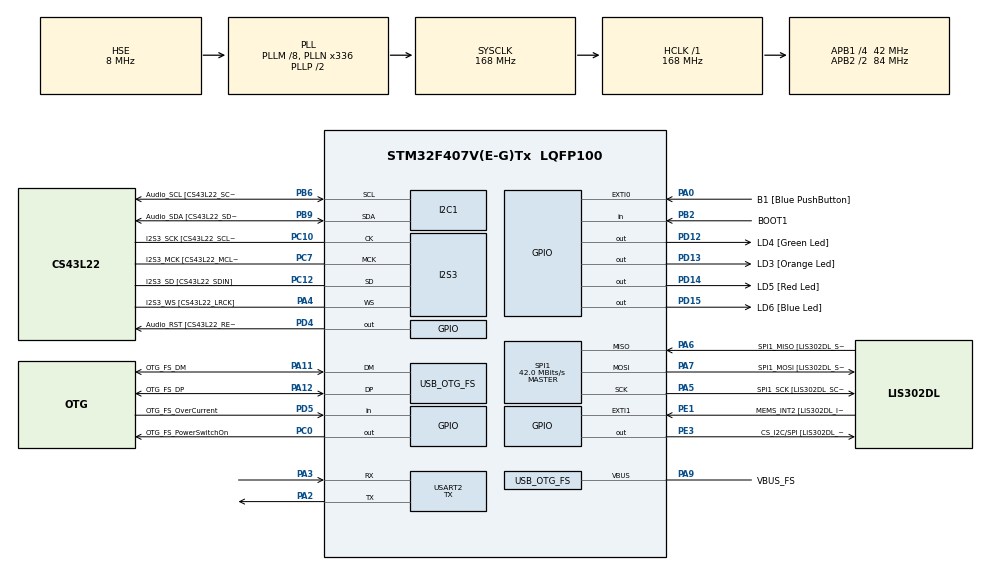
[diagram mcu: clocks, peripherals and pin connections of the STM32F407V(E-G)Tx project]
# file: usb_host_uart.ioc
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FREERTOS.Queues01=memoryToFilter,32,uint8_t,0,Dynamic,NULL,NULL;filterToUART,32,uint8_t,0,Dynamic,NULL,NULL
FREERTOS.Tasks01=readFromMemory,24,128,StartReadFromMemory,Default,NULL,Dynamic,NULL,NULL;filter,24,128,StartFilter,Default,NULL,Dynamic,NULL,NULL;sendUART,24,128,StartSendUART,Default,NULL,Dynamic,NULL,NULL
I2S3.AudioFreq-Half_Duplex_Master=I2S_AUDIOFREQ_96K
I2S3.ErrorAudioFreq=-2.34 %
I2S3.ErrorAudioFreq-Half_Duplex_Master=0.8 %
I2S3.FullDuplexMode=I2S_FULLDUPLEXMODE_DISABLE
I2S3.Instance=SPI$Index
I2S3.RealAudioFreq=93.75 KHz
I2S3.RealAudioFreq-Half_Duplex_Master=96.774 KHz
I2S3.VirtualMode=I2S_MODE_MASTER
Mcu.Family=STM32F4
Mcu.Name=STM32F407V(E-G)Tx
Mcu.Package=LQFP100
NVIC.OTG_FS_IRQn=true\:5\:0\:false\:false\:true\:true\:true\:true
NVIC.PriorityGroup=NVIC_PRIORITYGROUP_4
NVIC.TIM6_DAC_IRQn=true\:0\:0\:false\:false\:true\:false\:false\:true
NVIC.TimeBase=TIM6_DAC_IRQn
NVIC.TimeBaseIP=TIM6
NVIC.USART2_IRQn=true\:5\:0\:false\:false\:true\:true\:true\:true
PA0-WKUP.GPIO_Label=B1 [Blue PushButton]
PA0-WKUP.GPIO_ModeDefaultEXTI=GPIO_MODE_EVT_RISING
PA0-WKUP.GPIO_PuPd=GPIO_NOPULL
PA0-WKUP.Signal=GPXTI0
PA10.GPIO_Label=OTG_FS_ID
PA10.GPIO_Mode=GPIO_MODE_AF_PP
PA10.GPIO_PuPd=GPIO_NOPULL
PA10.GPIO_Speed=GPIO_SPEED_FREQ_LOW
PA10.Signal=USB_OTG_FS_ID
PA11.GPIO_Label=OTG_FS_DM
PA11.GPIO_Mode=GPIO_MODE_AF_PP
PA11.GPIO_PuPd=GPIO_NOPULL
PA11.GPIO_Speed=GPIO_SPEED_FREQ_LOW
PA11.Mode=Host_Only
PA11.Signal=USB_OTG_FS_DM
PA12.GPIO_Label=OTG_FS_DP
PA12.GPIO_Mode=GPIO_MODE_AF_PP
PA12.GPIO_PuPd=GPIO_NOPULL
PA12.GPIO_Speed=GPIO_SPEED_FREQ_LOW
PA12.Mode=Host_Only
PA12.Signal=USB_OTG_FS_DP
PA13.GPIO_Label=SWDIO
PA13.Mode=Serial_Wire
PA13.Signal=SYS_JTMS-SWDIO
PA14.GPIO_Label=SWCLK
PA14.Mode=Serial_Wire
PA14.Signal=SYS_JTCK-SWCLK
PA2.Mode=Asynchronous
PA2.Signal=USART2_TX
PA3.Mode=Asynchronous
PA3.Signal=USART2_RX
PA4.GPIO_Label=I2S3_WS [CS43L22_LRCK]
PA4.GPIO_Mode=GPIO_MODE_AF_PP
PA4.GPIO_PuPd=GPIO_NOPULL
PA4.GPIO_Speed=GPIO_SPEED_FREQ_LOW
PA4.Mode=Half_Duplex_Master
PA4.Signal=I2S3_WS
PA5.GPIO_Label=SPI1_SCK [LIS302DL_SCL/SPC]
PA5.GPIO_Mode=GPIO_MODE_AF_PP
PA5.GPIO_PuPd=GPIO_NOPULL
PA5.GPIO_Speed=GPIO_SPEED_FREQ_LOW
PA5.Mode=Full_Duplex_Master
PA5.Signal=SPI1_SCK
PA6.GPIO_Label=SPI1_MISO [LIS302DL_SDO]
PA6.GPIO_Mode=GPIO_MODE_AF_PP
PA6.GPIO_PuPd=GPIO_NOPULL
PA6.GPIO_Speed=GPIO_SPEED_FREQ_LOW
PA6.Mode=Full_Duplex_Master
PA6.Signal=SPI1_MISO
PA7.GPIO_Label=SPI1_MOSI [LIS302DL_SDA/SDI/SDO]
PA7.GPIO_Mode=GPIO_MODE_AF_PP
PA7.GPIO_PuPd=GPIO_NOPULL
PA7.GPIO_Speed=GPIO_SPEED_FREQ_LOW
PA7.Mode=Full_Duplex_Master
PA7.Signal=SPI1_MOSI
PA9.GPIO_Label=VBUS_FS
PA9.GPIO_Mode=GPIO_MODE_INPUT
PA9.GPIO_PuPd=GPIO_NOPULL
PA9.Mode=Activate_VBUS
PA9.Signal=USB_OTG_FS_VBUS
PB10.GPIO_Label=CLK_IN [MP45DT02_CLK]
PB10.GPIO_Mode=GPIO_MODE_AF_PP
PB10.GPIO_PuPd=GPIO_NOPULL
PB10.GPIO_Speed=GPIO_SPEED_FREQ_LOW
PB10.Signal=I2S2_CK
PB2.GPIO_Label=BOOT1
PB2.GPIO_Mode=GPIO_MODE_INPUT
PB2.GPIO_PuPd=GPIO_NOPULL
PB2.Signal=GPIO_Input
PB3.GPIO_Label=SWO
PB3.Signal=SYS_JTDO-SWO
PB6.GPIO_Label=Audio_SCL [CS43L22_SCL]
PB6.GPIO_Mode=GPIO_MODE_AF_OD
PB6.GPIO_PuPd=GPIO_NOPULL
PB6.GPIO_Speed=GPIO_SPEED_FREQ_LOW
PB6.Mode=I2C
PB6.Signal=I2C1_SCL
PB9.GPIO_Label=Audio_SDA [CS43L22_SDA]
PB9.GPIO_Mode=GPIO_MODE_AF_OD
PB9.GPIO_PuPd=GPIO_NOPULL
PB9.GPIO_Speed=GPIO_SPEED_FREQ_LOW
PB9.Mode=I2C
PB9.Signal=I2C1_SDA
PC0.GPIO_Label=OTG_FS_PowerSwitchOn
PC0.GPIO_PuPd=GPIO_NOPULL
PC0.GPIO_Speed=GPIO_SPEED_FREQ_LOW
PC0.PinState=GPIO_PIN_SET
PC0.Signal=GPIO_Output
PC10.GPIO_Label=I2S3_SCK [CS43L22_SCLK]
PC10.GPIO_Mode=GPIO_MODE_AF_PP
PC10.GPIO_PuPd=GPIO_NOPULL
PC10.GPIO_Speed=GPIO_SPEED_FREQ_LOW
PC10.Mode=Half_Duplex_Master
PC10.Signal=I2S3_CK
PC12.GPIO_Label=I2S3_SD [CS43L22_SDIN]
PC12.GPIO_Mode=GPIO_MODE_AF_PP
PC12.GPIO_PuPd=GPIO_NOPULL
PC12.GPIO_Speed=GPIO_SPEED_FREQ_LOW
PC12.Mode=Half_Duplex_Master
PC12.Signal=I2S3_SD
PC14-OSC32_IN.GPIO_Label=PC14-OSC32_IN
PC14-OSC32_IN.Mode=LSE-External-Oscillator
PC14-OSC32_IN.Signal=RCC_OSC32_IN
PC15-OSC32_OUT.GPIO_Label=PC15-OSC32_OUT
PC15-OSC32_OUT.Mode=LSE-External-Oscillator
PC15-OSC32_OUT.Signal=RCC_OSC32_OUT
PC3.GPIO_Label=PDM_OUT [MP45DT02_DOUT]
PC3.GPIO_Mode=GPIO_MODE_AF_PP
PC3.GPIO_PuPd=GPIO_NOPULL
PC3.GPIO_Speed=GPIO_SPEED_FREQ_LOW
PC3.Signal=I2S2_SD
PC7.GPIO_Label=I2S3_MCK [CS43L22_MCLK]
PC7.GPIO_Mode=GPIO_MODE_AF_PP
PC7.GPIO_PuPd=GPIO_NOPULL
PC7.GPIO_Speed=GPIO_SPEED_FREQ_LOW
PC7.Mode=Master_Clock_Activated
PC7.Signal=I2S3_MCK
PD12.GPIO_Label=LD4 [Green Led]
PD12.GPIO_PuPd=GPIO_NOPULL
PD12.GPIO_Speed=GPIO_SPEED_FREQ_LOW
PD12.Signal=GPIO_Output
PD13.GPIO_Label=LD3 [Orange Led]
PD13.GPIO_PuPd=GPIO_NOPULL
PD13.GPIO_Speed=GPIO_SPEED_FREQ_LOW
PD13.Signal=GPIO_Output
PD14.GPIO_Label=LD5 [Red Led]
PD14.GPIO_PuPd=GPIO_NOPULL
PD14.GPIO_Speed=GPIO_SPEED_FREQ_LOW
PD14.Signal=GPIO_Output
PD15.GPIO_Label=LD6 [Blue Led]
PD15.GPIO_PuPd=GPIO_NOPULL
PD15.GPIO_Speed=GPIO_SPEED_FREQ_LOW
PD15.Signal=GPIO_Output
PD4.GPIO_Label=Audio_RST [CS43L22_RESET]
PD4.GPIO_PuPd=GPIO_NOPULL
PD4.GPIO_Speed=GPIO_SPEED_FREQ_LOW
PD4.Signal=GPIO_Output
PD5.GPIO_Label=OTG_FS_OverCurrent
PD5.GPIO_Mode=GPIO_MODE_INPUT
PD5.GPIO_PuPd=GPIO_NOPULL
PD5.Signal=GPIO_Input
PE1.GPIO_Label=MEMS_INT2 [LIS302DL_INT2]
PE1.GPIO_ModeDefaultEXTI=GPIO_MODE_EVT_RISING
PE1.GPIO_PuPd=GPIO_NOPULL
PE1.Signal=GPXTI1
PE3.GPIO_Label=CS_I2C/SPI [LIS302DL_CS_I2C/SPI]
PE3.GPIO_PuPd=GPIO_NOPULL
PE3.GPIO_Speed=GPIO_SPEED_FREQ_LOW
PE3.Signal=GPIO_Output
PH0-OSC_IN.GPIO_Label=PH0-OSC_IN
PH0-OSC_IN.Mode=HSE-External-Oscillator
PH0-OSC_IN.Signal=RCC_OSC_IN
PH1-OSC_OUT.GPIO_Label=PH1-OSC_OUT
PH1-OSC_OUT.Mode=HSE-External-Oscillator
PH1-OSC_OUT.Signal=RCC_OSC_OUT
ProjectManager.HeapSize=0x2000
ProjectManager.StackSize=0x2000
ProjectManager.TargetToolchain=STM32CubeIDE
RCC.48MHZClocksFreq_Value=48000000
RCC.AHBFreq_Value=168000000
RCC.APB1CLKDivider=RCC_HCLK_DIV4
RCC.APB1Freq_Value=42000000
RCC.APB1TimFreq_Value=84000000
RCC.APB2CLKDivider=RCC_HCLK_DIV2
RCC.APB2Freq_Value=84000000
RCC.APB2TimFreq_Value=168000000
RCC.CortexFreq_Value=168000000
RCC.HCLKFreq_Value=168000000
RCC.HSE_VALUE=8000000
RCC.HSI_VALUE=16000000
RCC.PLLM=8
RCC.PLLN=336
RCC.PLLQ=7
RCC.SYSCLKFreq_VALUE=168000000
RCC.SYSCLKSource=RCC_SYSCLKSOURCE_PLLCLK
RCC.VCOOutputFreq_Value=336000000
SPI1.CalculateBaudRate=42.0 MBits/s
SPI1.Direction=SPI_DIRECTION_2LINES
SPI1.Mode=SPI_MODE_MASTER
SPI1.VirtualType=VM_MASTER
USART2.Mode=MODE_TX
USART2.VirtualMode=VM_ASYNC
USB_HOST.BSP.number=1
USB_HOST.USBH_HandleTypeDef-MSC_FS=hUsbHostFS
USB_HOST.VirtualModeFS=Msc
USB_HOST0.BSP.STBoard=false
USB_HOST0.BSP.api=Unknown
USB_HOST0.BSP.i2caddr=0
USB_HOST0.BSP.i2creg=0
USB_HOST0.BSP.instance=PC0
USB_HOST0.BSP.ip=GPIO
USB_HOST0.BSP.mode=Output
USB_HOST0.BSP.name=Drive_VBUS_FS
USB_HOST0.BSP.solution=PC0
USB_OTG_FS.VirtualMode=Host_Only
USB_OTG_FS.phy_itface=HCD_PHY_EMBEDDED
VP_FATFS_VS_USB.Mode=USB
VP_FREERTOS_VS_CMSIS_V2.Mode=CMSIS_V2
VP_SYS_VS_tim6.Mode=TIM6
VP_USB_HOST_VS_USB_HOST_MSC_FS.Mode=MSC_FS
board=STM32F407G-DISC1

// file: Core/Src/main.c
/* USER CODE BEGIN Header */
/**
  ******************************************************************************
  * @file           : main.c
  * @brief          : Main program body
  ******************************************************************************
  * @attention
  *
  * <h2><center>&copy; Copyright (c) 2020 STMicroelectronics.
  * All rights reserved.</center></h2>
  *
  * This software component is licensed by ST under Ultimate Liberty license
  * SLA0044, the "License"; You may not use this file except in compliance with
  * the License. You may obtain a copy of the License at:
  *                             www.st.com/SLA0044
  *
  ******************************************************************************
  */
/* USER CODE END Header */
#include "main.h"
#include "cmsis_os.h"
#include "fatfs.h"
#include "usb_host.h"

/* USER CODE BEGIN Includes */

//#include "usbh_core.h"
//#include "usbh_msc.h"

/* USER CODE END Includes */

I2C_HandleTypeDef hi2c1;

I2S_HandleTypeDef hi2s3;

SPI_HandleTypeDef hspi1;

UART_HandleTypeDef huart2;

/* Definitions for readFromMemory */
osThreadId_t readFromMemoryHandle;
const osThreadAttr_t readFromMemory_attributes = {
  .name = "readFromMemory",
  .priority = (osPriority_t) osPriorityNormal,
  .stack_size = 128 * 4
};
/* Definitions for filter */
osThreadId_t filterHandle;
const osThreadAttr_t filter_attributes = {
  .name = "filter",
  .priority = (osPriority_t) osPriorityNormal,
  .stack_size = 128 * 4
};
/* Definitions for sendUART */
osThreadId_t sendUARTHandle;
const osThreadAttr_t sendUART_attributes = {
  .name = "sendUART",
  .priority = (osPriority_t) osPriorityNormal,
  .stack_size = 128 * 4
};
/* Definitions for memoryToFilter */
osMessageQueueId_t memoryToFilterHandle;
const osMessageQueueAttr_t memoryToFilter_attributes = {
  .name = "memoryToFilter"
};
/* Definitions for filterToUART */
osMessageQueueId_t filterToUARTHandle;
const osMessageQueueAttr_t filterToUART_attributes = {
  .name = "filterToUART"
};
/* USER CODE BEGIN PV */
extern ApplicationTypeDef Appli_state;

extern USBH_HandleTypeDef hUsbHostFS;

//USBH_HandleTypeDef hUSB_Host; /* USB Host handle */
//USBH_HandleTypeDef hUsbHostFS;
/* USER CODE END PV */

void SystemClock_Config(void);
static void MX_GPIO_Init(void);
static void MX_I2S3_Init(void);
static void MX_SPI1_Init(void);
static void MX_I2C1_Init(void);
static void MX_USART2_UART_Init(void);
void StartReadFromMemory(void *argument);
void StartFilter(void *argument);
void StartSendUART(void *argument);

int main(void)
{

  /* MCU Configuration--------------------------------------------------------*/

  /* Reset of all peripherals, Initializes the Flash interface and the Systick. */
  HAL_Init();

  /* Configure the system clock */
  SystemClock_Config();

  /* Initialize all configured peripherals */
  MX_GPIO_Init();
  MX_I2S3_Init();
  MX_SPI1_Init();
  MX_I2C1_Init();
  MX_USART2_UART_Init();
  MX_FATFS_Init();

  /* Init scheduler */
  osKernelInitialize();

  /* Create the queue(s) */
  /* creation of memoryToFilter */
  memoryToFilterHandle = osMessageQueueNew (32, sizeof(uint8_t), &memoryToFilter_attributes);

  /* creation of filterToUART */
  filterToUARTHandle = osMessageQueueNew (32, sizeof(uint8_t), &filterToUART_attributes);

  /* Create the thread(s) */
  /* creation of readFromMemory */
  readFromMemoryHandle = osThreadNew(StartReadFromMemory, NULL, &readFromMemory_attributes);

  /* creation of filter */
  filterHandle = osThreadNew(StartFilter, NULL, &filter_attributes);

  /* creation of sendUART */
  sendUARTHandle = osThreadNew(StartSendUART, NULL, &sendUART_attributes);

  /* Start scheduler */
  osKernelStart();

  /* We should never get here as control is now taken by the scheduler */
  /* Infinite loop */
  while (1)
  {

  }
}

void SystemClock_Config(void)
{
  RCC_OscInitTypeDef RCC_OscInitStruct = {0};
  RCC_ClkInitTypeDef RCC_ClkInitStruct = {0};
  RCC_PeriphCLKInitTypeDef PeriphClkInitStruct = {0};

  /** Configure the main internal regulator output voltage
  */
  __HAL_RCC_PWR_CLK_ENABLE();
  __HAL_PWR_VOLTAGESCALING_CONFIG(PWR_REGULATOR_VOLTAGE_SCALE1);
  /** Initializes the RCC Oscillators according to the specified parameters
  * in the RCC_OscInitTypeDef structure.
  */
  RCC_OscInitStruct.OscillatorType = RCC_OSCILLATORTYPE_HSE;
  RCC_OscInitStruct.HSEState = RCC_HSE_ON;
  RCC_OscInitStruct.PLL.PLLState = RCC_PLL_ON;
  RCC_OscInitStruct.PLL.PLLSource = RCC_PLLSOURCE_HSE;
  RCC_OscInitStruct.PLL.PLLM = 8;
  RCC_OscInitStruct.PLL.PLLN = 336;
  RCC_OscInitStruct.PLL.PLLP = RCC_PLLP_DIV2;
  RCC_OscInitStruct.PLL.PLLQ = 7;
  if (HAL_RCC_OscConfig(&RCC_OscInitStruct) != HAL_OK)
  {
    Error_Handler();
  }
  /** Initializes the CPU, AHB and APB buses clocks
  */
  RCC_ClkInitStruct.ClockType = RCC_CLOCKTYPE_HCLK|RCC_CLOCKTYPE_SYSCLK
                              |RCC_CLOCKTYPE_PCLK1|RCC_CLOCKTYPE_PCLK2;
  RCC_ClkInitStruct.SYSCLKSource = RCC_SYSCLKSOURCE_PLLCLK;
  RCC_ClkInitStruct.AHBCLKDivider = RCC_SYSCLK_DIV1;
  RCC_ClkInitStruct.APB1CLKDivider = RCC_HCLK_DIV4;
  RCC_ClkInitStruct.APB2CLKDivider = RCC_HCLK_DIV2;

  if (HAL_RCC_ClockConfig(&RCC_ClkInitStruct, FLASH_LATENCY_5) != HAL_OK)
  {
    Error_Handler();
  }
  PeriphClkInitStruct.PeriphClockSelection = RCC_PERIPHCLK_I2S;
  PeriphClkInitStruct.PLLI2S.PLLI2SN = 192;
  PeriphClkInitStruct.PLLI2S.PLLI2SR = 2;
  if (HAL_RCCEx_PeriphCLKConfig(&PeriphClkInitStruct) != HAL_OK)
  {
    Error_Handler();
  }
}

static void MX_I2C1_Init(void)
{

  hi2c1.Instance = I2C1;
  hi2c1.Init.ClockSpeed = 100000;
  hi2c1.Init.DutyCycle = I2C_DUTYCYCLE_2;
  hi2c1.Init.OwnAddress1 = 0;
  hi2c1.Init.AddressingMode = I2C_ADDRESSINGMODE_7BIT;
  hi2c1.Init.DualAddressMode = I2C_DUALADDRESS_DISABLE;
  hi2c1.Init.OwnAddress2 = 0;
  hi2c1.Init.GeneralCallMode = I2C_GENERALCALL_DISABLE;
  hi2c1.Init.NoStretchMode = I2C_NOSTRETCH_DISABLE;
  if (HAL_I2C_Init(&hi2c1) != HAL_OK)
  {
    Error_Handler();
  }

}

static void MX_I2S3_Init(void)
{

  hi2s3.Instance = SPI3;
  hi2s3.Init.Mode = I2S_MODE_MASTER_TX;
  hi2s3.Init.Standard = I2S_STANDARD_PHILIPS;
  hi2s3.Init.DataFormat = I2S_DATAFORMAT_16B;
  hi2s3.Init.MCLKOutput = I2S_MCLKOUTPUT_ENABLE;
  hi2s3.Init.AudioFreq = I2S_AUDIOFREQ_96K;
  hi2s3.Init.CPOL = I2S_CPOL_LOW;
  hi2s3.Init.ClockSource = I2S_CLOCK_PLL;
  hi2s3.Init.FullDuplexMode = I2S_FULLDUPLEXMODE_DISABLE;
  if (HAL_I2S_Init(&hi2s3) != HAL_OK)
  {
    Error_Handler();
  }

}

static void MX_SPI1_Init(void)
{

  /* SPI1 parameter configuration*/
  hspi1.Instance = SPI1;
  hspi1.Init.Mode = SPI_MODE_MASTER;
  hspi1.Init.Direction = SPI_DIRECTION_2LINES;
  hspi1.Init.DataSize = SPI_DATASIZE_8BIT;
  hspi1.Init.CLKPolarity = SPI_POLARITY_LOW;
  hspi1.Init.CLKPhase = SPI_PHASE_1EDGE;
  hspi1.Init.NSS = SPI_NSS_SOFT;
  hspi1.Init.BaudRatePrescaler = SPI_BAUDRATEPRESCALER_2;
  hspi1.Init.FirstBit = SPI_FIRSTBIT_MSB;
  hspi1.Init.TIMode = SPI_TIMODE_DISABLE;
  hspi1.Init.CRCCalculation = SPI_CRCCALCULATION_DISABLE;
  hspi1.Init.CRCPolynomial = 10;
  if (HAL_SPI_Init(&hspi1) != HAL_OK)
  {
    Error_Handler();
  }

}

static void MX_USART2_UART_Init(void)
{

  huart2.Instance = USART2;
  huart2.Init.BaudRate = 115200;
  huart2.Init.WordLength = UART_WORDLENGTH_8B;
  huart2.Init.StopBits = UART_STOPBITS_1;
  huart2.Init.Parity = UART_PARITY_NONE;
  huart2.Init.Mode = UART_MODE_TX;
  huart2.Init.HwFlowCtl = UART_HWCONTROL_NONE;
  huart2.Init.OverSampling = UART_OVERSAMPLING_16;
  if (HAL_UART_Init(&huart2) != HAL_OK)
  {
    Error_Handler();
  }

}

static void MX_GPIO_Init(void)
{
  GPIO_InitTypeDef GPIO_InitStruct = {0};

  /* GPIO Ports Clock Enable */
  __HAL_RCC_GPIOE_CLK_ENABLE();
  __HAL_RCC_GPIOC_CLK_ENABLE();
  __HAL_RCC_GPIOH_CLK_ENABLE();
  __HAL_RCC_GPIOA_CLK_ENABLE();
  __HAL_RCC_GPIOB_CLK_ENABLE();
  __HAL_RCC_GPIOD_CLK_ENABLE();

  /*Configure GPIO pin Output Level */
  HAL_GPIO_WritePin(CS_I2C_SPI_GPIO_Port, CS_I2C_SPI_Pin, GPIO_PIN_RESET);

  /*Configure GPIO pin Output Level */
  HAL_GPIO_WritePin(OTG_FS_PowerSwitchOn_GPIO_Port, OTG_FS_PowerSwitchOn_Pin, GPIO_PIN_SET);

  /*Configure GPIO pin Output Level */
  HAL_GPIO_WritePin(GPIOD, LD4_Pin|LD3_Pin|LD5_Pin|LD6_Pin
                          |Audio_RST_Pin, GPIO_PIN_RESET);

  /*Configure GPIO pin : CS_I2C_SPI_Pin */
  GPIO_InitStruct.Pin = CS_I2C_SPI_Pin;
  GPIO_InitStruct.Mode = GPIO_MODE_OUTPUT_PP;
  GPIO_InitStruct.Pull = GPIO_NOPULL;
  GPIO_InitStruct.Speed = GPIO_SPEED_FREQ_LOW;
  HAL_GPIO_Init(CS_I2C_SPI_GPIO_Port, &GPIO_InitStruct);

  /*Configure GPIO pin : OTG_FS_PowerSwitchOn_Pin */
  GPIO_InitStruct.Pin = OTG_FS_PowerSwitchOn_Pin;
  GPIO_InitStruct.Mode = GPIO_MODE_OUTPUT_PP;
  GPIO_InitStruct.Pull = GPIO_NOPULL;
  GPIO_InitStruct.Speed = GPIO_SPEED_FREQ_LOW;
  HAL_GPIO_Init(OTG_FS_PowerSwitchOn_GPIO_Port, &GPIO_InitStruct);

  /*Configure GPIO pin : PDM_OUT_Pin */
  GPIO_InitStruct.Pin = PDM_OUT_Pin;
  GPIO_InitStruct.Mode = GPIO_MODE_AF_PP;
  GPIO_InitStruct.Pull = GPIO_NOPULL;
  GPIO_InitStruct.Speed = GPIO_SPEED_FREQ_LOW;
  GPIO_InitStruct.Alternate = GPIO_AF5_SPI2;
  HAL_GPIO_Init(PDM_OUT_GPIO_Port, &GPIO_InitStruct);

  /*Configure GPIO pin : B1_Pin */
  GPIO_InitStruct.Pin = B1_Pin;
  GPIO_InitStruct.Mode = GPIO_MODE_EVT_RISING;
  GPIO_InitStruct.Pull = GPIO_NOPULL;
  HAL_GPIO_Init(B1_GPIO_Port, &GPIO_InitStruct);

  /*Configure GPIO pin : BOOT1_Pin */
  GPIO_InitStruct.Pin = BOOT1_Pin;
  GPIO_InitStruct.Mode = GPIO_MODE_INPUT;
  GPIO_InitStruct.Pull = GPIO_NOPULL;
  HAL_GPIO_Init(BOOT1_GPIO_Port, &GPIO_InitStruct);

  /*Configure GPIO pin : CLK_IN_Pin */
  GPIO_InitStruct.Pin = CLK_IN_Pin;
  GPIO_InitStruct.Mode = GPIO_MODE_AF_PP;
  GPIO_InitStruct.Pull = GPIO_NOPULL;
  GPIO_InitStruct.Speed = GPIO_SPEED_FREQ_LOW;
  GPIO_InitStruct.Alternate = GPIO_AF5_SPI2;
  HAL_GPIO_Init(CLK_IN_GPIO_Port, &GPIO_InitStruct);

  /*Configure GPIO pins : LD4_Pin LD3_Pin LD5_Pin LD6_Pin
                           Audio_RST_Pin */
  GPIO_InitStruct.Pin = LD4_Pin|LD3_Pin|LD5_Pin|LD6_Pin
                          |Audio_RST_Pin;
  GPIO_InitStruct.Mode = GPIO_MODE_OUTPUT_PP;
  GPIO_InitStruct.Pull = GPIO_NOPULL;
  GPIO_InitStruct.Speed = GPIO_SPEED_FREQ_LOW;
  HAL_GPIO_Init(GPIOD, &GPIO_InitStruct);

  /*Configure GPIO pin : OTG_FS_OverCurrent_Pin */
  GPIO_InitStruct.Pin = OTG_FS_OverCurrent_Pin;
  GPIO_InitStruct.Mode = GPIO_MODE_INPUT;
  GPIO_InitStruct.Pull = GPIO_NOPULL;
  HAL_GPIO_Init(OTG_FS_OverCurrent_GPIO_Port, &GPIO_InitStruct);

  /*Configure GPIO pin : MEMS_INT2_Pin */
  GPIO_InitStruct.Pin = MEMS_INT2_Pin;
  GPIO_InitStruct.Mode = GPIO_MODE_EVT_RISING;
  GPIO_InitStruct.Pull = GPIO_NOPULL;
  HAL_GPIO_Init(MEMS_INT2_GPIO_Port, &GPIO_InitStruct);

}

void StartReadFromMemory(void *argument)
{
  /* init code for USB_HOST */
  MX_USB_HOST_Init();
  /* USER CODE BEGIN 5 */
  uint8_t sendToFilter = 0x01;

  /* Infinite loop */
  for(;;)
  {
	  USBH_Process(&hUsbHostFS);

	  switch(Appli_state)
	  {
	  	case APPLICATION_IDLE:
	  		break;

	  	case APPLICATION_START:
	  		//Turn green led on
	  		HAL_GPIO_WritePin(GPIOD, GPIO_PIN_12, GPIO_PIN_SET);
	  		break;

	  	case APPLICATION_READY:
	  		break;

	  	case APPLICATION_DISCONNECT:
	  		//Turn green led off
	  		HAL_GPIO_WritePin(GPIOD, GPIO_PIN_12, GPIO_PIN_RESET);
	  		HAL_GPIO_WritePin(GPIOD, GPIO_PIN_14, GPIO_PIN_SET);
	  		break;

	  }

	  osMessageQueuePut(memoryToFilterHandle, &sendToFilter, 0, 200);
	  osDelay(1000);
  }
  /* USER CODE END 5 */
}

void StartFilter(void *argument)
{
  /* USER CODE BEGIN StartFilter */
	uint8_t bufferGetFromMemory[1];
	uint8_t sendToSendUART;
  /* Infinite loop */
  for(;;)
  {
	  osMessageQueueGet(memoryToFilterHandle, &bufferGetFromMemory, NULL, 1000);
	  // printf("Received Filter: %d\n", (int)bufferGetFromMemory[0]);

	  //Filtering
	  sendToSendUART = bufferGetFromMemory[0];

	  osMessageQueuePut(filterToUARTHandle, &sendToSendUART, 0, 200);

  }
  /* USER CODE END StartFilter */
}

void StartSendUART(void *argument)
{
  /* USER CODE BEGIN StartSendUART */
	uint8_t bufferGetFromFilter[1];

  /* Infinite loop */
  for(;;)
  {
	  osMessageQueueGet(filterToUARTHandle, &bufferGetFromFilter, NULL, 1000);

	  //checking without UART
	  if(bufferGetFromFilter[0] == 0x01) {
		  HAL_GPIO_WritePin(GPIOD, GPIO_PIN_13, 1);
	  } else {
		  HAL_GPIO_WritePin(GPIOD, GPIO_PIN_15, 1);
	  }

	  //HAL_UART_Transmit(&huart2, bufferGetFromFilter, 2, 1000);

	  //na przerwaniach
	  HAL_UART_Transmit_IT(&huart2, &bufferGetFromFilter, 1);

  }
  /* USER CODE END StartSendUART */
}

 /**
  * @brief  Period elapsed callback in non blocking mode
  * @note   This function is called  when TIM6 interrupt took place, inside
  * HAL_TIM_IRQHandler(). It makes a direct call to HAL_IncTick() to increment
  * a global variable "uwTick" used as application time base.
  * @param  htim : TIM handle
  * @retval None
  */
void HAL_TIM_PeriodElapsedCallback(TIM_HandleTypeDef *htim)
{
  if (htim->Instance == TIM6) {
    HAL_IncTick();
  }
}

void Error_Handler(void)
{
  __disable_irq();
  while (1)
  {
  }
}

/************************ (C) COPYRIGHT STMicroelectronics *****END OF FILE****/
